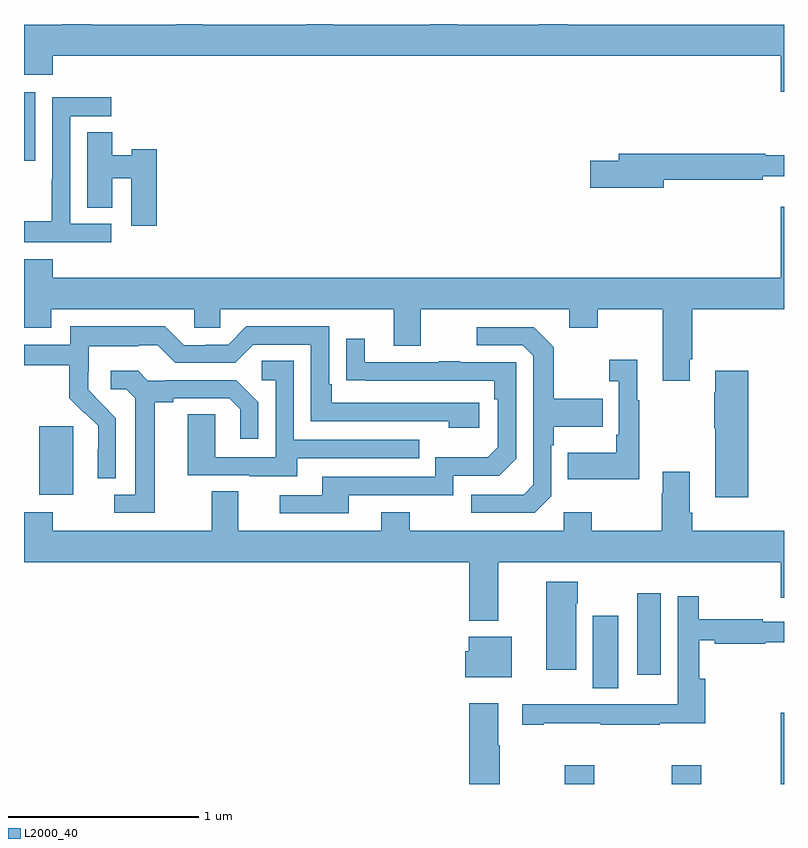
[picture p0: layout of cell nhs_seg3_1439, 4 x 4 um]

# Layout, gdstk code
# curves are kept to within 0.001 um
import gdstk
lib = gdstk.Library(unit=1e-6, precision=1e-09)
def R(c, l, rs):  # rectangles x0, y0, x1, y1
    for r in rs: c.add(gdstk.rectangle(r[:2], r[2:], *l))
def P(c, l, *ps):  # polygons
    for p in ps: c.add(gdstk.Polygon(p, *l))
L2000_40 = (2000, 40)

nhs_seg3_1439 = lib.new_cell('nhs_seg3_1439')
R(nhs_seg3_1439, L2000_40, [(187.846,714.4,188.001,714.499), (188.41,714.4,188.565,714.499), (188.984,714.4,189,714.775), (187.994,714.904,188.128,715.285), (188.228,714.975,188.35,715.405), (185.081,715.922,185.26,716.283), (185,717.681,185.059,718.042)])
P(nhs_seg3_1439, L2000_40, [(189,718.396),(187.862,718.396),(187.862,718.4),(187.709,718.4),(187.709,718.396),(187.279,718.396),(187.279,718.4),(187.139,718.4),(187.139,718.396),(186.625,718.396),(186.625,718.4),(186.485,718.4),(186.485,718.396),(185.941,718.396),(185.941,718.4),(185.801,718.4),(185.801,718.396),(185.353,718.396),(185.353,718.4),(185.201,718.4),(185.201,718.396),(185,718.396),(185,718.133),(185.15,718.133),(185.15,718.232),(188.984,718.232),(188.984,718.044),(189,718.044)],
  [(185.458,717.348),(185.244,717.348),(185.244,717.915),(185.458,717.915),(185.458,718.014),(185.148,718.014),(185.148,717.584),(185.146,717.584),(185.146,717.361),(185,717.361),(185,717.252),(185.458,717.252)],
  [(185.699,717.74),(185.568,717.74),(185.568,717.709),(185.464,717.709),(185.464,717.83),(185.333,717.83),(185.333,717.433),(185.464,717.433),(185.464,717.587),(185.564,717.587),(185.564,717.339),(185.699,717.339)],
  [(188.368,717.58),(188.888,717.58),(188.888,717.599),(189,717.599),(189,717.709),(188.902,717.709),(188.902,717.716),(188.129,717.716),(188.129,717.68),(187.98,717.68),(187.98,717.538),(188.368,717.538)],
  [(188.503,716.635),(188.516,716.635),(188.516,716.9),(189,716.9),(189,717.439),(188.984,717.439),(188.984,717.064),(185.15,717.064),(185.15,717.163),(185,717.163),(185,716.801),(185.143,716.801),(185.143,716.9),(185.895,716.9),(185.895,716.802),(186.033,716.802),(186.033,716.9),(186.947,716.9),(186.947,716.706),(187.087,716.706),(187.087,716.9),(187.871,716.9),(187.871,716.801),(188.019,716.801),(188.019,716.9),(188.363,716.9),(188.363,716.523),(188.503,716.523)],
  [(185.484,716.326),(185.338,716.474),(185.338,716.571),(185.34,716.571),(185.34,716.705),(185.603,716.705),(185.603,716.709),(185.703,716.709),(185.796,716.616),(186.111,716.616),(186.207,716.712),(186.51,716.712),(186.51,716.31),(187.235,716.31),(187.235,716.276),(187.396,716.276),(187.396,716.406),(186.619,716.406),(186.619,716.503),(186.606,716.503),(186.606,716.808),(186.171,716.808),(186.075,716.712),(185.957,716.712),(185.957,716.709),(185.841,716.709),(185.741,716.809),(185.244,716.809),(185.244,716.712),(185,716.712),(185,716.604),(185.239,716.604),(185.239,716.429),(185.316,716.352),(185.319,716.355),(185.39,716.285),(185.39,716.162),(185.388,716.162),(185.388,716.008),(185.484,716.008)],
  [(187.776,715.914),(187.776,716.183),(187.789,716.183),(187.789,716.279),(188.045,716.279),(188.045,716.427),(187.789,716.427),(187.789,716.699),(187.683,716.805),(187.383,716.805),(187.383,716.709),(187.626,716.709),(187.68,716.655),(187.68,715.974),(187.629,715.923),(187.353,715.923),(187.353,715.827),(187.689,715.827)],
  [(186.709,715.92),(187.26,715.92),(187.26,716.022),(187.5,716.022),(187.59,716.112),(187.59,716.619),(187.295,716.619),(187.295,716.624),(187.183,716.624),(187.183,716.619),(186.793,716.619),(186.793,716.743),(186.697,716.743),(186.697,716.524),(187.474,716.523),(187.474,716.426),(187.494,716.426),(187.494,716.172),(187.441,716.119),(187.164,716.119),(187.164,716.016),(186.569,716.016),(186.569,715.92),(186.345,715.92),(186.345,715.824),(186.709,715.824)],
  [(188.239,716.419),(188.227,716.419),(188.227,716.632),(188.079,716.632),(188.079,716.519),(188.13,716.519),(188.13,716.239),(188.118,716.239),(188.118,716.143),(187.861,716.143),(187.861,716.003),(188.239,716.003)],
  [(186.439,716.115),(187.079,716.115),(187.079,716.211),(186.42,716.211),(186.42,716.627),(186.252,716.627),(186.252,716.526),(186.324,716.526),(186.324,716.121),(186.006,716.121),(186.006,716.345),(185.861,716.345),(185.861,716.025),(186.185,716.025),(186.185,716.021),(186.439,716.021)],
  [(188.812,716.575),(188.639,716.575),(188.639,716.462),(188.632,716.462),(188.632,716.273),(188.639,716.273),(188.639,715.908),(188.812,715.908)],
  [(185.689,716.408),(185.785,716.408),(185.785,716.43),(186.08,716.43),(186.137,716.373),(186.137,716.217),(186.234,716.217),(186.234,716.41),(186.118,716.526),(185.746,716.526),(185.746,716.523),(185.652,716.523),(185.6,716.575),(185.457,716.575),(185.457,716.478),(185.538,716.478),(185.585,716.431),(185.585,715.923),(185.475,715.923),(185.475,715.827),(185.689,715.827)],
  [(187.495,715.568),(188.984,715.568),(188.984,715.38),(189,715.38),(189,715.732),(188.516,715.732),(188.516,715.828),(188.503,715.828),(188.503,716.044),(188.363,716.044),(188.363,715.931),(188.356,715.931),(188.356,715.732),(187.989,715.732),(187.989,715.831),(187.842,715.831),(187.842,715.732),(187.029,715.732),(187.029,715.831),(186.881,715.831),(186.881,715.732),(186.127,715.732),(186.127,715.94),(185.987,715.94),(185.987,715.732),(185.151,715.732),(185.151,715.831),(185,715.831),(185,715.568),(187.343,715.568),(187.343,715.259),(187.495,715.259)],
  [(187.906,715.352),(187.914,715.352),(187.914,715.465),(187.748,715.465),(187.748,715.002),(187.906,715.002)],
  [(187.735,714.721),(188.035,714.721),(188.035,714.711),(188.345,714.711),(188.345,714.721),(188.585,714.721),(188.585,714.955),(188.554,714.955),(188.554,715.157),(188.635,715.157),(188.635,715.138),(188.902,715.138),(188.902,715.146),(189,715.146),(189,715.254),(188.888,715.254),(188.888,715.267),(188.551,715.267),(188.551,715.387),(188.442,715.387),(188.442,714.82),(188.232,714.82),(188.232,714.819),(187.898,714.819),(187.898,714.821),(187.623,714.821),(187.623,714.711),(187.735,714.711)],
  [(187.567,715.174),(187.34,715.174),(187.34,715.098),(187.322,715.098),(187.322,714.962),(187.567,714.962)],
  [(187.495,714.605),(187.495,714.826),(187.343,714.826),(187.343,714.4),(187.503,714.4),(187.503,714.605)])

lib.write_gds('nhs_seg3_1439.gds')
